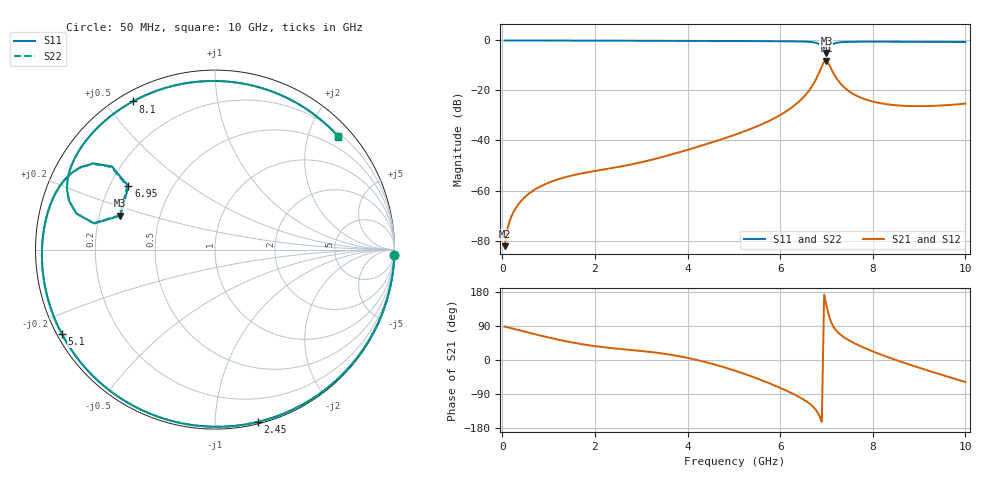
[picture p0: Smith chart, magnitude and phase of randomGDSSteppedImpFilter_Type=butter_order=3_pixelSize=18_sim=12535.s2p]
! freq	dB(S11)	phase(S11)	dB(S12)	phase(S12)
!  dB(S21)	phase(S21)	dB(S22)	phase(S22)
!S-par simulation data
#  GHz  S  DB  R 50
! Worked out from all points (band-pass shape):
!   200 points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, 50 MHz to 10 GHz, reference 50 ohm
!   highest |S21| = -8.11 dB at 7 GHz (marker M1); lowest = -82.3 dB at 50 MHz (marker M2)
!   |S21| within 3 dB of the highest: 6.882 GHz to 7.096 GHz (213.9 MHz wide, 3.06 % of centre)
!   lowest |S11| = -5.0 dB at 7 GHz (marker M3), VSWR 3.55, Z = 14.5 + j7.98 ohm
!   |S11| at or under -10 dB: nowhere
!   |S22| runs from -5.0 to 0.0 dB; largest |S21 - S12| = 0
!   S11 on the Smith chart (normalised r, x): 50 MHz: 0, -70; 2.45 GHz: 0.01, -1.28; 5.1 GHz: 0.01, -0.26; 6.95 GHz: 0.28, +0.30; 8.1 GHz: 0.04, +0.59; 10 GHz: 0.27, +2.55
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0.05  -0.00 -1.6  -82.26 88.3  -82.26 88.3  -0.00 -1.6
0.15  -0.01 -4.9  -72.73 85.1  -72.73 85.1  -0.01 -4.8
0.25  -0.01 -8.1  -68.32 82.0  -68.32 82.0  -0.01 -8.0
0.55  -0.02 -17.6  -61.63 72.5  -61.63 72.5  -0.02 -17.6
1.05  -0.04 -33.5  -56.52 57.9  -56.52 57.9  -0.04 -33.4
1.75  -0.07 -55.1  -53.03 41.1  -53.03 41.1  -0.07 -55.1
2.45  -0.10 -76.1  -50.75 30.2  -50.75 30.2  -0.10 -76.0
3.4  -0.13 -103.4  -46.89 18.1  -46.89 18.1  -0.13 -103.4
5.05  -0.22 -149.8  -37.53 -29.2  -37.53 -29.2  -0.22 -149.6
5.1  -0.23 -151.2  -37.20 -31.2  -37.20 -31.2  -0.23 -151.1
6.1  -0.32 178.8  -28.72 -78.9  -28.72 -78.9  -0.32 179.0
6.7  -0.68 155.2  -17.95 -122.0  -17.95 -122.0  -0.68 155.4
6.85  -1.61 144.7  -12.51 -147.5  -12.51 -147.5  -1.59 145.0
6.95  -4.47 143.8  -8.50 172.8  -8.50 172.8  -4.41 144.2
7  -5.03 160.3  -8.11 143.6  -8.11 143.6  -4.96 160.3
7.1  -1.98 165.5  -11.27 100.1  -11.27 100.1  -1.96 165.4
7.25  -0.84 154.8  -16.02 72.7  -16.02 72.7  -0.83 154.8
7.6  -0.52 138.5  -21.63 44.4  -21.63 44.4  -0.52 138.5
8.1  -0.50 119.0  -24.87 17.9  -24.87 17.9  -0.50 119.1
8.35  -0.51 109.4  -25.63 6.5  -25.63 6.5  -0.51 109.5
9.15  -0.56 77.6  -26.24 -26.3  -26.24 -26.3  -0.56 77.7
10  -0.62 42.4  -25.25 -58.1  -25.25 -58.1  -0.62 42.6
